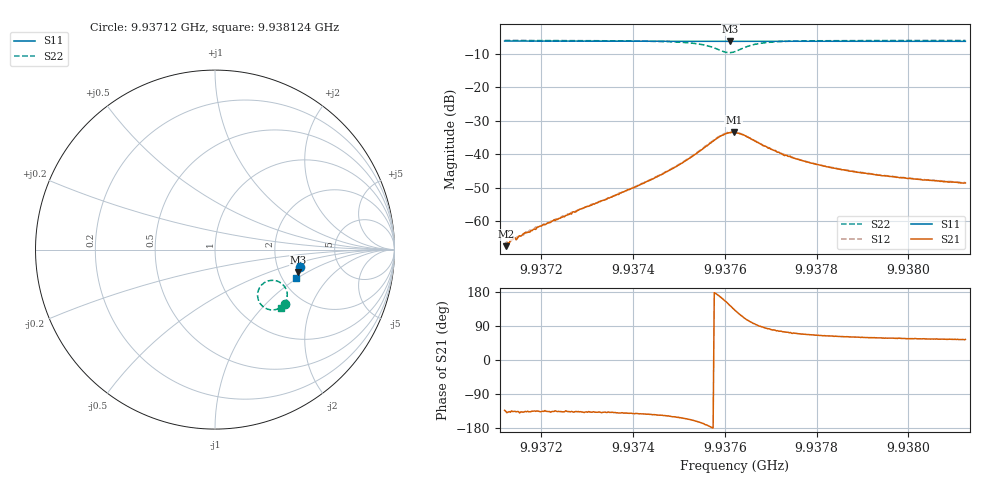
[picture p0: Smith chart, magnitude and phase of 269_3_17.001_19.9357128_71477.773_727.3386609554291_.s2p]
#  HZ  S  RI  R  50.00
! Rohde & Schwarz Vector Network Analyzer
! Rohde-Schwarz,ZNB20-2Port,1311601062101988,3.16
! Created: UTC 3/20/2024, 11:04:07 PM
! freq[Hz]  re:S11  im:S11  re:S21  im:S21  re:S12  im:S12  re:S22  im:S22
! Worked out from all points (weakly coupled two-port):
!   401 points, 9.93712 GHz to 9.938124 GHz, reference 50 ohm
!   highest |S21| = -33.42 dB at 9.93762 GHz (marker M1); lowest = -67.4 dB at 9.937123 GHz (marker M2)
!   lowest |S11| = -6.4 dB at 9.937612 GHz (marker M3), VSWR 2.84, Z = 126 - j41.6 ohm
!   |S11| at or under -10 dB: nowhere
!   |S22| runs from -9.7 to -6.1 dB; largest |S21 - S12| = 0.00096
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9.9371202e9  0.4748 -0.0954  -0.00031 -0.000336  -0.000327 -0.000303  0.3925 -0.3015
9.9371227e9  0.4748 -0.0955  -0.000306 -0.0003  -0.000374 -0.000307  0.392 -0.3017
9.9371378e9  0.4744 -0.0964  -0.000393 -0.000379  -0.000396 -0.000367  0.3911 -0.3028
9.9371503e9  0.4741 -0.0974  -0.000426 -0.00041  -0.000422 -0.000418  0.3899 -0.3037
9.9371654e9  0.4738 -0.0984  -0.000489 -0.000479  -0.000501 -0.000442  0.389 -0.305
9.9371905e9  0.4734 -0.1001  -0.000569 -0.000578  -0.000583 -0.000556  0.387 -0.3069
9.9372884e9  0.4716 -0.1067  -0.00114 -0.00105  -0.00114 -0.00105  0.3773 -0.3149
9.9374064e9  0.4691 -0.1146  -0.00255 -0.00207  -0.00264 -0.00207  0.3591 -0.3268
9.9374566e9  0.4678 -0.118  -0.00394 -0.00271  -0.00405 -0.00269  0.3449 -0.3324
9.9375118e9  0.4663 -0.1219  -0.00703 -0.00341  -0.00722 -0.00333  0.3169 -0.3362
9.937557e9  0.4648 -0.1249  -0.0126 -0.00212  -0.013 -0.0021  0.272 -0.3209
9.9375896e9  0.4632 -0.1264  -0.018 0.00415  -0.0182 0.0047  0.2378 -0.2626
9.9376122e9  0.4625 -0.1267  -0.0167 0.0127  -0.0167 0.0135  0.26 -0.1964
9.9376197e9  0.4628 -0.127  -0.0149 0.0153  -0.0144 0.016  0.2802 -0.1811
9.9376222e9  0.4628 -0.1269  -0.0139 0.016  -0.0136 0.0166  0.2877 -0.1775
9.9376498e9  0.4631 -0.1285  -0.00466 0.0174  -0.00423 0.0176  0.3612 -0.1821
9.93768e9  0.4632 -0.1308  0.000622 0.0141  0.00075 0.0141  0.3948 -0.2185
9.9377251e9  0.4625 -0.1339  0.0026 0.00967  0.00268 0.00986  0.4028 -0.2566
9.9377904e9  0.461 -0.1387  0.00294 0.00674  0.0031 0.00674  0.3974 -0.284
9.9378757e9  0.4588 -0.1444  0.00275 0.00489  0.00286 0.00489  0.3891 -0.3022
9.9379586e9  0.457 -0.1499  0.0025 0.00396  0.00261 0.00397  0.3818 -0.3129
9.9381242e9  0.4526 -0.1606  0.00219 0.00305  0.00228 0.00303  0.37 -0.3276
